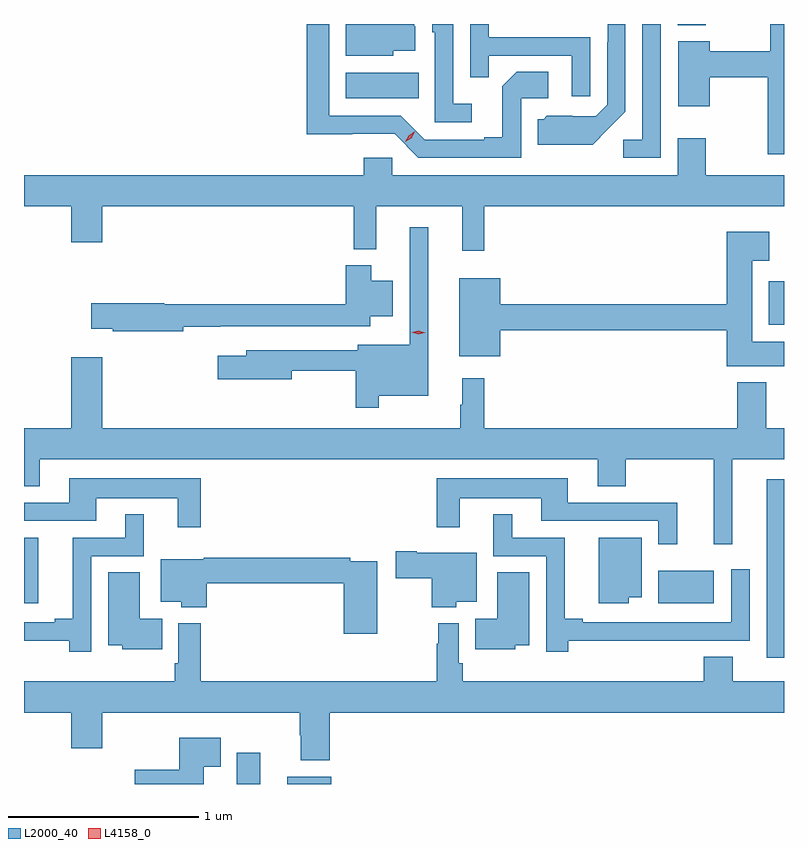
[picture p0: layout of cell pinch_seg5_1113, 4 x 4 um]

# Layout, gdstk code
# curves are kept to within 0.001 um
import gdstk
lib = gdstk.Library(unit=1e-6, precision=1e-09)
def R(c, l, rs):  # rectangles x0, y0, x1, y1
    for r in rs: c.add(gdstk.rectangle(r[:2], r[2:], *l))
def P(c, l, *ps):  # polygons
    for p in ps: c.add(gdstk.Polygon(p, *l))
L2000_40 = (2000, 40)
L4158_0 = (4158, 0)

pinch_seg5_1113 = lib.new_cell('pinch_seg5_1113')
R(pinch_seg5_1113, L2000_40, [(789.257,845.728,789.379,845.893), (789.521,845.728,789.754,845.767), (792.044,846.393,792.136,847.333), (788.136,846.68,788.212,847.024), (791.474,846.68,791.767,846.85), (792.056,848.144,792.136,848.374), (789.83,849.338,790.214,849.472), (791.576,849.722,791.724,849.728)])
P(pinch_seg5_1113, L2000_40, [(790.752,849.336),(790.894,849.336),(790.894,849.476),(790.729,849.476),(790.653,849.4),(790.653,849.133),(790.559,849.133),(790.559,849.12),(790.245,849.12),(790.119,849.246),(789.742,849.246),(789.742,849.728),(789.624,849.728),(789.624,849.149),(790.086,849.15),(790.212,849.024),(790.752,849.024)],
  [(791.115,849.657),(790.581,849.657),(790.581,849.728),(790.485,849.728),(790.485,849.448),(790.583,849.448),(790.583,849.561),(791.019,849.561),(791.019,849.348),(791.115,849.348)],
  [(790.08,849.587),(790.195,849.587),(790.195,849.716),(790.191,849.716),(790.191,849.728),(789.83,849.728),(789.83,849.56),(790.08,849.56)],
  [(790.492,849.307),(790.395,849.307),(790.395,849.728),(790.284,849.728),(790.284,849.684),(790.299,849.684),(790.299,849.21),(790.492,849.21)],
  [(791.487,849.728),(791.391,849.728),(791.391,849.12),(791.289,849.12),(791.289,849.024),(791.487,849.024)],
  [(791.209,849.173),(791.301,849.266),(791.301,849.728),(791.208,849.728),(791.208,849.632),(791.205,849.632),(791.205,849.303),(791.145,849.243),(790.888,849.244),(790.872,849.228),(790.841,849.228),(790.841,849.092),(791.129,849.092)],
  [(792.136,849.728),(792.063,849.728),(792.063,849.584),(791.746,849.584),(791.746,849.637),(791.579,849.637),(791.579,849.294),(791.746,849.294),(791.746,849.448),(792.051,849.448),(792.051,849.042),(792.136,849.042)],
  [(790.559,848.768),(792.136,848.768),(792.136,848.932),(791.724,848.932),(791.724,849.127),(791.576,849.127),(791.576,848.932),(790.074,848.932),(790.074,849.025),(789.923,849.025),(789.923,848.932),(788.136,848.932),(788.136,848.768),(788.384,848.768),(788.384,848.58),(788.548,848.58),(788.548,848.768),(789.871,848.768),(789.871,848.543),(789.989,848.543),(789.989,848.768),(790.442,848.768),(790.442,848.535),(790.559,848.535)],
  [(790.003,847.772),(790.264,847.772),(790.264,848.659),(790.167,848.659),(790.167,848.041),(789.893,848.041),(789.893,848.01),(789.305,848.01),(789.305,847.981),(789.156,847.981),(789.156,847.859),(789.544,847.859),(789.544,847.902),(789.882,847.902),(789.882,847.707),(790.003,847.707)],
  [(792.136,848.056),(791.968,848.056),(791.968,848.483),(792.058,848.483),(792.058,848.635),(791.834,848.635),(791.834,848.252),(790.642,848.252),(790.642,848.389),(790.427,848.389),(790.427,847.979),(790.642,847.979),(790.642,848.116),(791.834,848.116),(791.834,847.928),(792.136,847.928)],
  [(788.974,848.135),(789.168,848.135),(789.168,848.136),(789.958,848.136),(789.958,848.189),(790.078,848.189),(790.078,848.377),(789.964,848.377),(789.964,848.458),(789.83,848.458),(789.83,848.252),(788.874,848.252),(788.874,848.258),(788.49,848.258),(788.49,848.123),(788.602,848.123),(788.602,848.111),(788.974,848.111)],
  [(791.864,847.436),(792.136,847.436),(792.136,847.6),(792.043,847.6),(792.043,847.843),(791.891,847.843),(791.891,847.6),(790.559,847.6),(790.559,847.864),(790.442,847.864),(790.442,847.724),(790.431,847.724),(790.431,847.6),(788.548,847.6),(788.548,847.975),(788.384,847.975),(788.384,847.6),(788.136,847.6),(788.136,847.294),(788.218,847.294),(788.218,847.436),(791.156,847.436),(791.156,847.294),(791.304,847.294),(791.304,847.436),(791.765,847.436),(791.765,846.99),(791.864,846.99)],
  [(791.573,847.209),(790.999,847.209),(790.999,847.336),(790.308,847.336),(790.308,847.08),(790.429,847.08),(790.429,847.232),(790.859,847.232),(790.859,847.113),(791.475,847.113),(791.475,846.99),(791.573,846.99)],
  [(789.067,847.336),(788.375,847.336),(788.375,847.209),(788.136,847.209),(788.136,847.113),(788.515,847.113),(788.515,847.232),(788.945,847.232),(788.945,847.08),(789.067,847.08)],
  [(791,846.482),(791.63,846.482),(791.63,846.483),(791.955,846.483),(791.955,846.859),(791.859,846.859),(791.859,846.579),(791.077,846.579),(791.077,846.599),(790.982,846.599),(790.982,847.023),(790.705,847.023),(790.705,847.147),(790.607,847.147),(790.607,846.927),(790.884,846.927),(790.884,846.423),(791,846.423)],
  [(788.49,846.927),(788.767,846.927),(788.767,847.147),(788.669,847.147),(788.669,847.023),(788.393,847.023),(788.393,846.599),(788.297,846.599),(788.297,846.579),(788.136,846.579),(788.136,846.482),(788.374,846.482),(788.374,846.423),(788.49,846.423)],
  [(791.32,846.71),(791.386,846.71),(791.386,847.024),(791.162,847.024),(791.162,846.68),(791.32,846.68)],
  [(790.41,846.686),(790.519,846.686),(790.519,846.946),(790.204,846.946),(790.204,846.954),(790.092,846.954),(790.092,846.812),(790.282,846.812),(790.282,846.659),(790.41,846.659)],
  [(789.996,846.9),(789.854,846.9),(789.854,846.92),(789.081,846.92),(789.081,846.91),(788.855,846.91),(788.855,846.686),(788.964,846.686),(788.964,846.659),(789.098,846.659),(789.098,846.784),(789.818,846.784),(789.818,846.519),(789.996,846.519)],
  [(788.864,846.598),(788.746,846.598),(788.746,846.842),(788.579,846.842),(788.579,846.458),(788.652,846.458),(788.652,846.437),(788.864,846.437)],
  [(790.722,846.458),(790.795,846.458),(790.795,846.842),(790.628,846.842),(790.628,846.598),(790.51,846.598),(790.51,846.437),(790.722,846.437)],
  [(789.746,846.104),(792.136,846.104),(792.136,846.268),(791.866,846.268),(791.866,846.398),(791.714,846.398),(791.714,846.268),(790.445,846.268),(790.445,846.364),(790.425,846.364),(790.425,846.574),(790.317,846.574),(790.317,846.467),(790.309,846.467),(790.309,846.268),(789.065,846.268),(789.065,846.574),(788.949,846.574),(788.949,846.364),(788.929,846.364),(788.929,846.268),(788.136,846.268),(788.136,846.104),(788.384,846.104),(788.384,845.916),(788.548,845.916),(788.548,846.104),(789.586,846.104),(789.586,845.984),(789.593,845.984),(789.593,845.852),(789.746,845.852)],
  [(789.082,845.819),(789.172,845.819),(789.172,845.971),(788.953,845.971),(788.953,845.803),(788.72,845.803),(788.72,845.728),(789.082,845.728)])
P(pinch_seg5_1113, L4158_0, [(790.142,849.108),(790.142,849.109),(790.16,849.141),(790.191,849.16),(790.192,849.16),(790.192,849.16),(790.174,849.127),(790.142,849.108)],
  [(790.212,848.094),(790.177,848.106),(790.177,848.106),(790.177,848.106),(790.213,848.114),(790.248,848.103),(790.249,848.103),(790.248,848.102)])

lib.write_gds('pinch_seg5_1113.gds')
